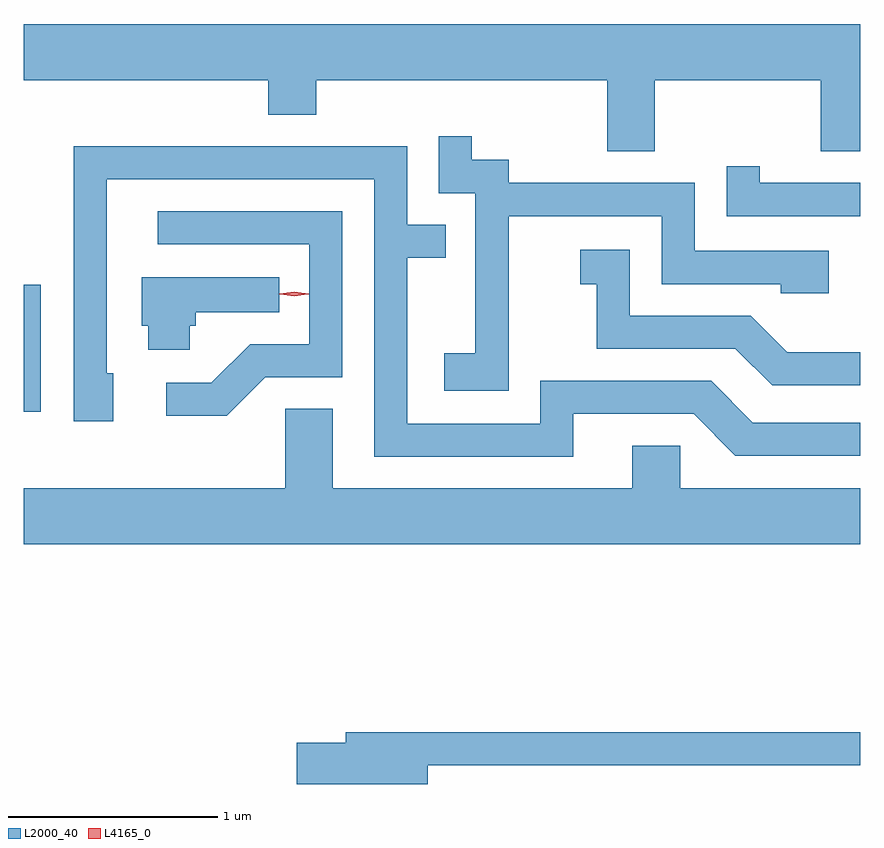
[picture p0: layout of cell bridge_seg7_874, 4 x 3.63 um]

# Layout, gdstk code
import gdstk
lib = gdstk.Library(unit=1e-6, precision=1e-09)
def R(c, l, rs):  # rectangles x0, y0, x1, y1
    for r in rs: c.add(gdstk.rectangle(r[:2], r[2:], *l))
def P(c, l, *ps):  # polygons
    for p in ps: c.add(gdstk.Polygon(p, *l))
L2000_40 = (2000, 40)
L4165_0 = (4165, 0)

bridge_seg7_874 = lib.new_cell('bridge_seg7_874')
R(bridge_seg7_874, L2000_40, [(556.581,1694.971,556.664,1695.578)])
P(bridge_seg7_874, L2000_40, [(559.599,1696.556),(560.391,1696.556),(560.391,1696.216),(560.581,1696.216),(560.581,1696.824),(556.581,1696.824),(556.581,1696.556),(557.751,1696.556),(557.751,1696.391),(557.979,1696.391),(557.979,1696.556),(559.371,1696.556),(559.371,1696.216),(559.599,1696.216)],
  [(558.899,1695.906),(559.631,1695.906),(559.631,1695.581),(560.201,1695.581),(560.201,1695.536),(560.429,1695.536),(560.429,1695.739),(559.789,1695.739),(559.789,1696.064),(558.899,1696.064),(558.899,1696.174),(558.724,1696.174),(558.724,1696.288),(558.566,1696.288),(558.566,1696.016),(558.741,1696.016),(558.741,1695.249),(558.591,1695.249),(558.591,1695.071),(558.899,1695.071)],
  [(559.209,1694.961),(559.784,1694.961),(559.984,1694.761),(560.581,1694.761),(560.581,1694.919),(560.067,1694.919),(559.867,1695.119),(559.051,1695.119),(559.051,1694.914),(558.414,1694.914),(558.414,1695.706),(558.598,1695.706),(558.598,1695.864),(558.414,1695.864),(558.414,1696.239),(556.821,1696.239),(556.821,1694.926),(557.009,1694.926),(557.009,1695.154),(556.979,1695.154),(556.979,1696.081),(558.256,1696.081),(558.256,1694.756),(559.209,1694.756)],
  [(560.581,1696.064),(560.099,1696.064),(560.099,1696.143),(559.941,1696.143),(559.941,1695.906),(560.581,1695.906)],
  [(557.737,1695.136),(558.104,1695.136),(558.104,1695.929),(557.223,1695.929),(557.223,1695.771),(557.946,1695.771),(557.946,1695.294),(557.664,1695.294),(557.479,1695.109),(557.263,1695.109),(557.263,1694.951),(557.552,1694.951)],
  [(560.581,1695.254),(560.232,1695.254),(560.057,1695.429),(559.479,1695.429),(559.479,1695.744),(559.243,1695.744),(559.243,1695.581),(559.321,1695.581),(559.321,1695.271),(559.984,1695.271),(560.159,1695.096),(560.581,1695.096)],
  [(557.374,1695.381),(557.404,1695.381),(557.404,1695.446),(557.803,1695.446),(557.803,1695.614),(557.146,1695.614),(557.146,1695.381),(557.176,1695.381),(557.176,1695.266),(557.374,1695.266)],
  [(560.581,1694.604),(559.719,1694.604),(559.719,1694.809),(559.491,1694.809),(559.491,1694.604),(558.059,1694.604),(558.059,1694.984),(557.831,1694.984),(557.831,1694.604),(556.581,1694.604),(556.581,1694.336),(560.581,1694.336)],
  [(558.514,1693.281),(560.581,1693.281),(560.581,1693.439),(558.121,1693.439),(558.121,1693.389),(557.886,1693.389),(557.886,1693.191),(558.514,1693.191)])
P(bridge_seg7_874, L4165_0, [(557.874,1695.523),(557.807,1695.533),(557.807,1695.533),(557.807,1695.534),(557.874,1695.543),(557.94,1695.534),(557.941,1695.533),(557.94,1695.533)],
  [(557.874,1695.524),(557.804,1695.533),(557.804,1695.534),(557.804,1695.534),(557.874,1695.544),(557.943,1695.534),(557.943,1695.534),(557.943,1695.533)])

lib.write_gds('bridge_seg7_874.gds')
